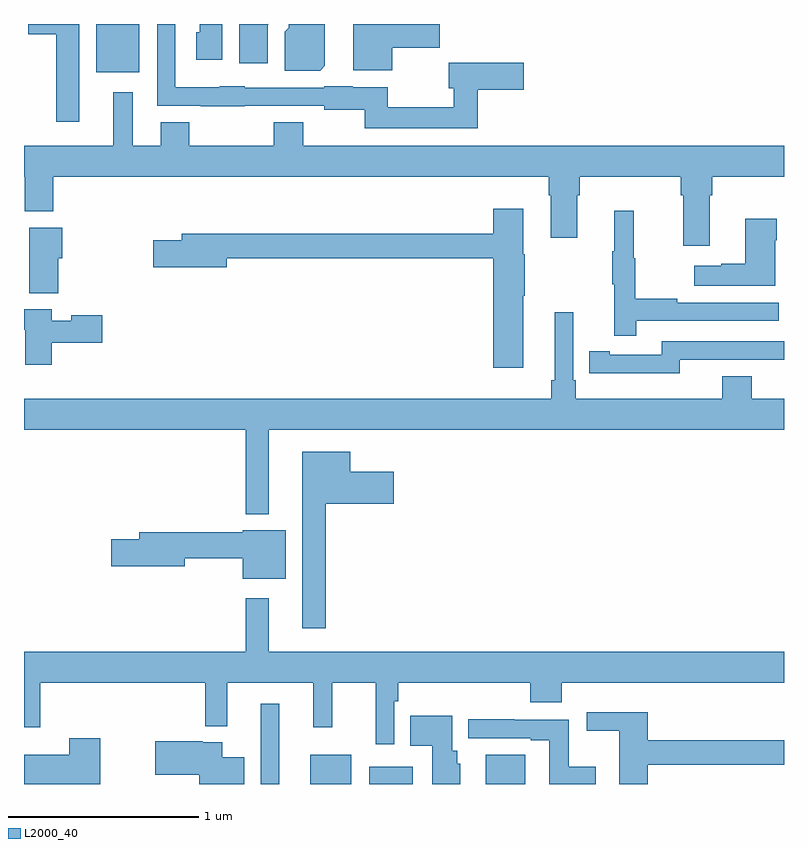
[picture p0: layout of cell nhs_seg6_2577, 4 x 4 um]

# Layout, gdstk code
import gdstk
lib = gdstk.Library(unit=1e-6, precision=1e-09)
def R(c, l, rs):  # rectangles x0, y0, x1, y1
    for r in rs: c.add(gdstk.rectangle(r[:2], r[2:], *l))
def P(c, l, *ps):  # polygons
    for p in ps: c.add(gdstk.Polygon(p, *l))
L2000_40 = (2000, 40)

nhs_seg6_2577 = lib.new_cell('nhs_seg6_2577')
R(nhs_seg6_2577, L2000_40, [(266.247,917.5,266.344,917.923), (266.507,917.5,266.722,917.653), (266.816,917.5,267.046,917.59), (267.431,917.5,267.637,917.653), (265.379,921.245,265.606,921.499)])
P(nhs_seg6_2577, L2000_40, [(266.584,921.28),(266.584,921.5),(266.394,921.5),(266.394,921.48),(266.372,921.458),(266.372,921.254),(266.558,921.254)],
  [(267.389,921.154),(267.631,921.154),(267.631,921.296),(267.235,921.296),(267.235,921.161),(267.261,921.161),(267.261,921.061),(266.914,921.061),(266.914,921.166),(266.73,921.166),(266.73,921.172),(266.58,921.172),(266.58,921.165),(266.163,921.165),(266.163,921.172),(266.031,921.172),(266.031,921.166),(265.797,921.166),(265.797,921.5),(265.701,921.5),(265.701,921.069),(265.931,921.069),(265.931,921.068),(266.163,921.068),(266.163,921.069),(266.58,921.069),(266.58,921.05),(266.793,921.05),(266.793,920.952),(267.389,920.952)],
  [(265.291,921.5),(265.022,921.5),(265.022,921.446),(265.17,921.446),(265.17,920.985),(265.291,920.985)],
  [(266.938,921.376),(267.187,921.376),(267.187,921.5),(266.732,921.5),(266.732,921.257),(266.938,921.257)],
  [(266.284,921.498),(266.288,921.498),(266.288,921.5),(266.132,921.5),(266.132,921.294),(266.284,921.294)],
  [(266.044,921.5),(265.925,921.5),(265.925,921.456),(265.907,921.456),(265.907,921.312),(266.044,921.312)],
  [(268.609,920.6),(268.622,920.6),(268.622,920.696),(269,920.696),(269,920.86),(266.469,920.86),(266.469,920.984),(266.314,920.984),(266.314,920.86),(265.869,920.86),(265.869,920.984),(265.721,920.984),(265.721,920.86),(265.573,920.86),(265.573,921.142),(265.469,921.142),(265.469,920.86),(265,920.86),(265,920.696),(265.003,920.696),(265.003,920.514),(265.154,920.514),(265.154,920.696),(267.761,920.696),(267.761,920.6),(267.773,920.6),(267.773,920.376),(267.913,920.376),(267.913,920.6),(267.926,920.6),(267.926,920.696),(268.457,920.696),(268.457,920.6),(268.469,920.6),(268.469,920.334),(268.609,920.334)],
  [(267.628,920.071),(267.636,920.071),(267.636,920.289),(267.628,920.289),(267.628,920.527),(267.47,920.527),(267.47,920.395),(265.829,920.395),(265.829,920.361),(265.68,920.361),(265.68,920.219),(266.068,920.219),(266.068,920.266),(267.47,920.266),(267.47,919.692),(267.628,919.692)],
  [(268.223,919.938),(268.972,919.938),(268.972,920.034),(268.439,920.034),(268.439,920.054),(268.216,920.054),(268.216,920.268),(268.208,920.268),(268.208,920.518),(268.106,920.518),(268.106,920.305),(268.095,920.305),(268.095,920.131),(268.106,920.131),(268.106,919.86),(268.223,919.86)],
  [(268.954,920.363),(268.962,920.363),(268.962,920.476),(268.796,920.476),(268.796,920.237),(268.67,920.237),(268.67,920.227),(268.527,920.227),(268.527,920.123),(268.954,920.123)],
  [(265.181,920.266),(265.201,920.266),(265.201,920.428),(265.028,920.428),(265.028,920.083),(265.181,920.083)],
  [(265.147,919.822),(265.411,919.822),(265.411,919.966),(265.248,919.966),(265.248,919.939),(265.147,919.939),(265.147,919.998),(265,919.998),(265,919.89),(265.007,919.89),(265.007,919.707),(265.147,919.707)],
  [(266.287,919.364),(269,919.364),(269,919.528),(268.829,919.528),(268.829,919.645),(268.676,919.645),(268.676,919.528),(267.905,919.528),(267.905,919.624),(267.891,919.624),(267.891,919.984),(267.794,919.984),(267.794,919.624),(267.775,919.624),(267.775,919.528),(265,919.528),(265,919.364),(266.166,919.364),(266.166,918.92),(266.287,918.92)],
  [(268.452,919.734),(268.912,919.734),(268.912,919.733),(269,919.733),(269,919.83),(268.356,919.83),(268.356,919.758),(268.084,919.758),(268.084,919.778),(267.976,919.778),(267.976,919.662),(268.084,919.662),(268.084,919.661),(268.452,919.661)],
  [(266.587,918.974),(266.947,918.974),(266.947,919.144),(266.716,919.144),(266.716,919.249),(266.465,919.249),(266.465,918.321),(266.587,918.321)],
  [(266.377,918.835),(266.15,918.835),(266.15,918.824),(265.607,918.824),(265.607,918.788),(265.458,918.788),(265.458,918.646),(265.846,918.646),(265.846,918.688),(266.15,918.688),(266.15,918.581),(266.377,918.581)],
  [(266.949,917.936),(266.969,917.936),(266.969,918.032),(267.665,918.032),(267.665,917.93),(267.83,917.93),(267.83,918.032),(269,918.032),(269,918.196),(266.287,918.196),(266.287,918.478),(266.166,918.478),(266.166,918.196),(265,918.196),(265,917.799),(265.085,917.799),(265.085,918.032),(265.955,918.032),(265.955,917.804),(266.069,917.804),(266.069,918.032),(266.522,918.032),(266.522,917.799),(266.622,917.799),(266.622,918.032),(266.851,918.032),(266.851,917.709),(266.949,917.709)],
  [(268.283,917.602),(269,917.602),(269,917.731),(268.283,917.731),(268.283,917.878),(267.963,917.878),(267.963,917.78),(268.133,917.78),(268.133,917.5),(268.283,917.5)],
  [(267.295,917.607),(267.28,917.607),(267.28,917.676),(267.253,917.676),(267.253,917.86),(267.034,917.86),(267.034,917.702),(267.149,917.702),(267.149,917.5),(267.295,917.5)],
  [(268.009,917.59),(267.866,917.59),(267.866,917.838),(267.581,917.838),(267.581,917.84),(267.339,917.84),(267.339,917.742),(267.668,917.742),(267.668,917.73),(267.765,917.73),(267.765,917.5),(268.009,917.5)],
  [(265.402,917.74),(265.237,917.74),(265.237,917.653),(265,917.653),(265,917.5),(265.402,917.5)],
  [(266.158,917.641),(266.044,917.641),(266.044,917.719),(265.94,917.719),(265.94,917.724),(265.692,917.724),(265.692,917.549),(265.922,917.549),(265.922,917.5),(266.158,917.5)])

lib.write_gds('nhs_seg6_2577.gds')
